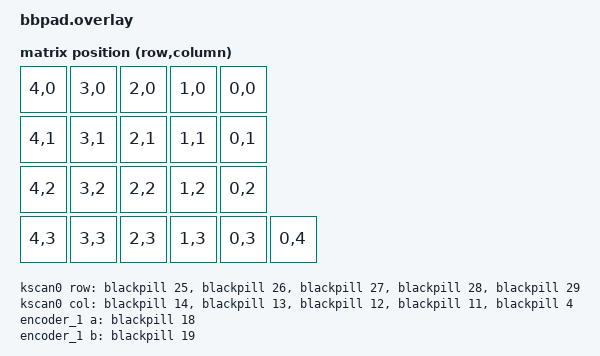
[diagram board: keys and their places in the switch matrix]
/*
 * Copyright (c) 2023 The ZMK Contributors
 *
 * SPDX-License-Identifier: MIT
 */

#include <dt-bindings/zmk/matrix_transform.h>

/ {
    chosen {
        zmk,kscan = &kscan0;
        zmk,matrix_transform = &default_transform;
    };

    kscan0: kscan {
        compatible = "zmk,kscan-gpio-matrix";
        label = "KSCAN";
        diode-direction = "col2row";
        row-gpios
            = <&blackpill 25 (GPIO_ACTIVE_HIGH | GPIO_PULL_DOWN)>
            , <&blackpill 26 (GPIO_ACTIVE_HIGH | GPIO_PULL_DOWN)>
            , <&blackpill 27 (GPIO_ACTIVE_HIGH | GPIO_PULL_DOWN)>
            , <&blackpill 28 (GPIO_ACTIVE_HIGH | GPIO_PULL_DOWN)>
            , <&blackpill 29 (GPIO_ACTIVE_HIGH | GPIO_PULL_DOWN)>
            ;
        col-gpios
            = <&blackpill 14 GPIO_ACTIVE_HIGH>
            , <&blackpill 13 GPIO_ACTIVE_HIGH>
            , <&blackpill 12 GPIO_ACTIVE_HIGH>
            , <&blackpill 11 GPIO_ACTIVE_HIGH>
            , <&blackpill 4  GPIO_ACTIVE_HIGH>            ;
    };

    default_transform: keymap_transform_0 {
        compatible = "zmk,matrix-transform";
        columns = <5>;
        rows = <5>;
        map = <
            RC(4,0) RC(3,0) RC(2,0) RC(1,0) RC(0,0)
            RC(4,1) RC(3,1) RC(2,1) RC(1,1) RC(0,1)
            RC(4,2) RC(3,2) RC(2,2) RC(1,2) RC(0,2)
            RC(4,3) RC(3,3) RC(2,3) RC(1,3) RC(0,3) RC(0,4)
        >;
    };

    encoder_1: encoder_1 {
        compatible = "alps,ec11";
        label = "Encoder 1";
        a-gpios = <&blackpill 18 (GPIO_ACTIVE_LOW | GPIO_PULL_UP)>;
        b-gpios = <&blackpill 19 (GPIO_ACTIVE_LOW | GPIO_PULL_UP)>;
        resolution = <4>;
        status = "disabled";
    };
};
